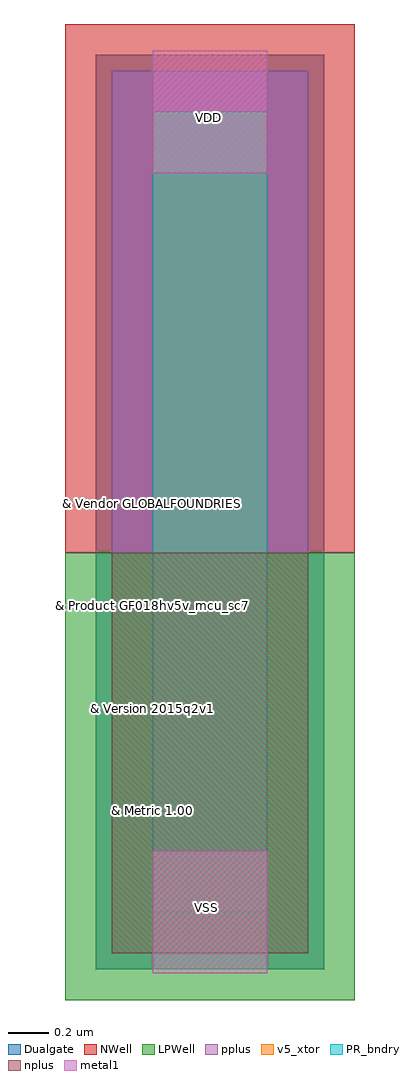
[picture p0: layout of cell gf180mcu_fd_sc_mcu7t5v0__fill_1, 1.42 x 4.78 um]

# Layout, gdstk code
import gdstk
lib = gdstk.Library(unit=1e-6, precision=1e-09)
def R(c, l, rs):  # rectangles x0, y0, x1, y1
    for r in rs: c.add(gdstk.rectangle(r[:2], r[2:], *l))
PR_bndry = (0, 0)
NWell = (21, 0)
pplus = (31, 0)
nplus = (32, 0)
metal1 = (34, 0)
Dualgate = (55, 0)
v5_xtor = (112, 1)
LPWell = (204, 0)

gf180mcu_fd_sc_mcu7t5v0_ = lib.new_cell('gf180mcu_fd_sc_mcu7t5v0__fill_1')
R(gf180mcu_fd_sc_mcu7t5v0_, PR_bndry, [(0,0,0.56,3.92)])
R(gf180mcu_fd_sc_mcu7t5v0_, NWell, [(-0.43,1.76,0.99,4.35)])
R(gf180mcu_fd_sc_mcu7t5v0_, pplus, [(-0.2,1.76,0.76,4.12)])
R(gf180mcu_fd_sc_mcu7t5v0_, nplus, [(-0.2,-0.2,0.76,1.76)])
R(gf180mcu_fd_sc_mcu7t5v0_, metal1, [(0,-0.3,0.56,0.3), (0,3.62,0.56,4.22)])
R(gf180mcu_fd_sc_mcu7t5v0_, Dualgate, [(-0.28,-0.28,0.84,4.2)])
R(gf180mcu_fd_sc_mcu7t5v0_, v5_xtor, [(0,0,0.56,3.92)])
R(gf180mcu_fd_sc_mcu7t5v0_, LPWell, [(-0.43,-0.43,0.99,1.76)])
gf180mcu_fd_sc_mcu7t5v0_.add(gdstk.Label('VDD', (0.275,3.89), layer=34, texttype=10))
gf180mcu_fd_sc_mcu7t5v0_.add(gdstk.Label('VSS', (0.265,0.025), layer=34, texttype=10))
gf180mcu_fd_sc_mcu7t5v0_.add(gdstk.Label('& Vendor GLOBALFOUNDRIES', (0,2), layer=63, texttype=63))
gf180mcu_fd_sc_mcu7t5v0_.add(gdstk.Label('& Product GF018hv5v_mcu_sc7', (0,1.5), layer=63, texttype=63))
gf180mcu_fd_sc_mcu7t5v0_.add(gdstk.Label('& Version 2015q2v1', (0,1), layer=63, texttype=63))
gf180mcu_fd_sc_mcu7t5v0_.add(gdstk.Label('& Metric 1.00', (0,0.5), layer=63, texttype=63))

lib.write_gds('gf180mcu_fd_sc_mcu7t5v0__fill_1.gds')
